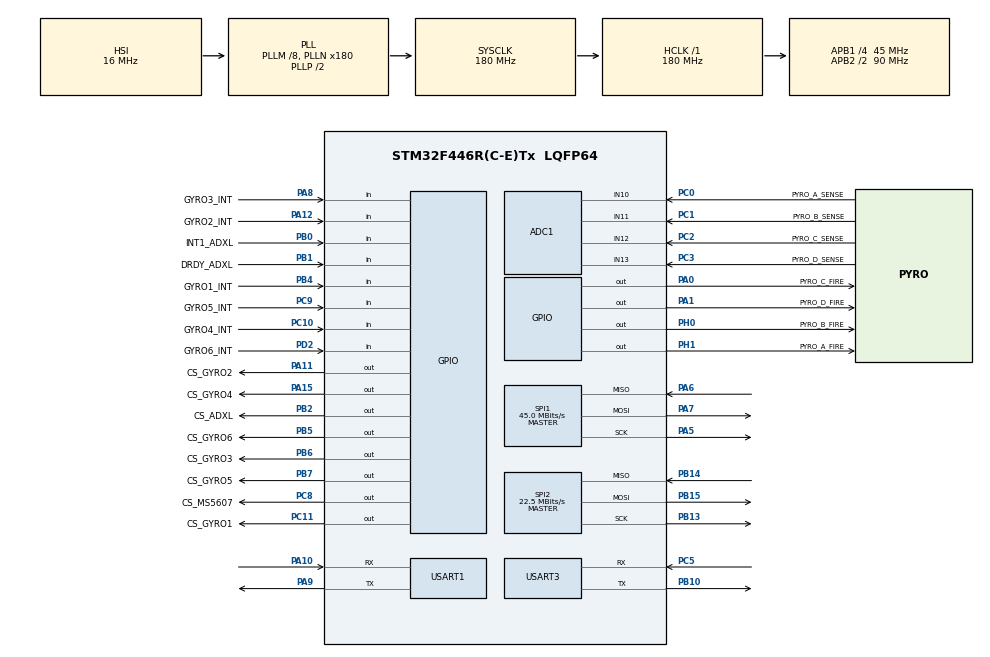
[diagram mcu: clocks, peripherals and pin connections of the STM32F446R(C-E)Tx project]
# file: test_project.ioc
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ADC1.Channel-0\#ChannelRegularConversion=ADC_CHANNEL_10
ADC1.Channel-1\#ChannelRegularConversion=ADC_CHANNEL_11
ADC1.Channel-72\#ChannelRegularConversion=ADC_CHANNEL_12
ADC1.Channel-IN10=ADC_CHANNEL_10
ADC1.Channel-IN11=ADC_CHANNEL_11
ADC1.Channel-IN12=ADC_CHANNEL_12
ADC1.NbrOfConversion=3
ADC1.NbrOfConversionFlag=1
ADC1.Rank-1\#ChannelRegularConversion=2
ADC1.master=1
Mcu.Family=STM32F4
Mcu.Name=STM32F446R(C-E)Tx
Mcu.Package=LQFP64
NVIC.PriorityGroup=NVIC_PRIORITYGROUP_0
PA0-WKUP.GPIO_Label=PYRO_C_FIRE
PA0-WKUP.Signal=GPIO_Output
PA1.GPIO_Label=PYRO_D_FIRE
PA1.Signal=GPIO_Output
PA10.Mode=Asynchronous
PA10.Signal=USART1_RX
PA11.GPIO_Label=CS_GYRO2
PA11.Signal=GPIO_Output
PA12.GPIO_Label=GYRO2_INT
PA12.Signal=GPIO_Input
PA13.GPIO_Label=TMS
PA13.Signal=SYS_JTMS-SWDIO
PA14.GPIO_Label=TCK
PA14.Signal=SYS_JTCK-SWCLK
PA15.GPIO_Label=CS_GYRO4
PA15.Signal=GPIO_Output
PA5.Mode=Full_Duplex_Master
PA5.Signal=SPI1_SCK
PA6.Mode=Full_Duplex_Master
PA6.Signal=SPI1_MISO
PA7.Mode=Full_Duplex_Master
PA7.Signal=SPI1_MOSI
PA8.GPIO_Label=GYRO3_INT
PA8.Signal=GPIO_Input
PA9.Mode=Asynchronous
PA9.Signal=USART1_TX
PB0.GPIO_Label=INT1_ADXL
PB0.Signal=GPIO_Input
PB1.GPIO_Label=DRDY_ADXL
PB1.Signal=GPIO_Input
PB10.Mode=Asynchronous
PB10.Signal=USART3_TX
PB13.Mode=Full_Duplex_Master
PB13.Signal=SPI2_SCK
PB14.Mode=Full_Duplex_Master
PB14.Signal=SPI2_MISO
PB15.Mode=Full_Duplex_Master
PB15.Signal=SPI2_MOSI
PB2.GPIO_Label=CS_ADXL
PB2.Signal=GPIO_Output
PB3.GPIO_Label=SWO
PB3.Signal=SYS_JTDO-SWO
PB4.GPIO_Label=GYRO1_INT
PB4.Signal=GPIO_Input
PB5.GPIO_Label=CS_GYRO6
PB5.Signal=GPIO_Output
PB6.GPIO_Label=CS_GYRO3
PB6.Signal=GPIO_Output
PB7.GPIO_Label=CS_GYRO5
PB7.Signal=GPIO_Output
PC0.GPIO_Label=PYRO_A_SENSE
PC0.Signal=ADCx_IN10
PC1.GPIO_Label=PYRO_B_SENSE
PC1.Signal=ADCx_IN11
PC10.GPIO_Label=GYRO4_INT
PC10.Signal=GPIO_Input
PC11.GPIO_Label=CS_GYRO1
PC11.Signal=GPIO_Output
PC2.GPIO_Label=PYRO_C_SENSE
PC2.Signal=ADCx_IN12
PC3.GPIO_Label=PYRO_D_SENSE
PC3.Signal=ADCx_IN13
PC5.Mode=Asynchronous
PC5.Signal=USART3_RX
PC8.GPIO_Label=CS_MS5607
PC8.Signal=GPIO_Output
PC9.GPIO_Label=GYRO5_INT
PC9.Signal=GPIO_Input
PD2.GPIO_Label=GYRO6_INT
PD2.Signal=GPIO_Input
PH0-OSC_IN.GPIO_Label=PYRO_B_FIRE
PH0-OSC_IN.Signal=GPIO_Output
PH1-OSC_OUT.GPIO_Label=PYRO_A_FIRE
PH1-OSC_OUT.Signal=GPIO_Output
ProjectManager.HeapSize=0x200
ProjectManager.StackSize=0x400
ProjectManager.TargetToolchain=Other Toolchains (GPDSC)
RCC.AHBFreq_Value=180000000
RCC.APB1CLKDivider=RCC_HCLK_DIV4
RCC.APB1Freq_Value=45000000
RCC.APB1TimFreq_Value=90000000
RCC.APB2CLKDivider=RCC_HCLK_DIV2
RCC.APB2Freq_Value=90000000
RCC.APB2TimFreq_Value=180000000
RCC.CortexFreq_Value=180000000
RCC.FLatency=FLASH_LATENCY_5
RCC.HCLKFreq_Value=180000000
RCC.PLLM=8
RCC.PLLN=180
RCC.PWREXT_OverDrive=PWREXT_OverDrive_ACTIVATED
RCC.PWR_Regulator_Voltage_Scale=PWR_REGULATOR_VOLTAGE_SCALE1
RCC.SYSCLKFreq_VALUE=180000000
RCC.SYSCLKSource=RCC_SYSCLKSOURCE_PLLCLK
RCC.USBFreq_Value=180000000
RCC.VCOOutputFreq_Value=360000000
SH.ADCx_IN10.0=ADC1_IN10,IN10
SH.ADCx_IN11.0=ADC1_IN11,IN11
SH.ADCx_IN12.0=ADC1_IN12,IN12
SH.ADCx_IN13.0=ADC1_IN13,IN13
SPI1.CalculateBaudRate=45.0 MBits/s
SPI1.Direction=SPI_DIRECTION_2LINES
SPI1.Mode=SPI_MODE_MASTER
SPI1.VirtualType=VM_MASTER
SPI2.CalculateBaudRate=22.5 MBits/s
SPI2.Direction=SPI_DIRECTION_2LINES
SPI2.Mode=SPI_MODE_MASTER
SPI2.VirtualType=VM_MASTER
USART1.VirtualMode=VM_ASYNC
USART3.VirtualMode=VM_ASYNC
VP_TIM6_VS_ClockSourceINT.Mode=Enable_Timer
VP_TIM7_VS_ClockSourceINT.Mode=Enable_Timer
board=test_project

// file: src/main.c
/**
  ******************************************************************************
  * File Name          : main.c
  * Description        : Main program body
  ******************************************************************************
  ** This notice applies to any and all portions of this file
  * that are not between comment pairs USER CODE BEGIN and
  * USER CODE END. Other portions of this file, whether
  * inserted by the user or by software development tools
  * are owned by their respective copyright owners.
  *
  * COPYRIGHT(c) 2017 STMicroelectronics
  *
  * Redistribution and use in source and binary forms, with or without modification,
  * are permitted provided that the following conditions are met:
  *   1. Redistributions of source code must retain the above copyright notice,
  *      this list of conditions and the following disclaimer.
  *   2. Redistributions in binary form must reproduce the above copyright notice,
  *      this list of conditions and the following disclaimer in the documentation
  *      and/or other materials provided with the distribution.
  *   3. Neither the name of STMicroelectronics nor the names of its contributors
  *      may be used to endorse or promote products derived from this software
  *      without specific prior written permission.
  *
  * THIS SOFTWARE IS PROVIDED BY THE COPYRIGHT HOLDERS AND CONTRIBUTORS "AS IS"
  * AND ANY EXPRESS OR IMPLIED WARRANTIES, INCLUDING, BUT NOT LIMITED TO, THE
  * IMPLIED WARRANTIES OF MERCHANTABILITY AND FITNESS FOR A PARTICULAR PURPOSE ARE
  * DISCLAIMED. IN NO EVENT SHALL THE COPYRIGHT HOLDER OR CONTRIBUTORS BE LIABLE
  * FOR ANY DIRECT, INDIRECT, INCIDENTAL, SPECIAL, EXEMPLARY, OR CONSEQUENTIAL
  * DAMAGES (INCLUDING, BUT NOT LIMITED TO, PROCUREMENT OF SUBSTITUTE GOODS OR
  * SERVICES; LOSS OF USE, DATA, OR PROFITS; OR BUSINESS INTERRUPTION) HOWEVER
  * CAUSED AND ON ANY THEORY OF LIABILITY, WHETHER IN CONTRACT, STRICT LIABILITY,
  * OR TORT (INCLUDING NEGLIGENCE OR OTHERWISE) ARISING IN ANY WAY OUT OF THE USE
  * OF THIS SOFTWARE, EVEN IF ADVISED OF THE POSSIBILITY OF SUCH DAMAGE.
  *
  ******************************************************************************
  */

#include "main.h"
#include "stm32f4xx_hal.h"

/* USER CODE BEGIN Includes */
#include <string.h>
#include "CC1125.h"
#include "MS5607.h"
#include "LSM9DS0.h"
/* USER CODE END Includes */

ADC_HandleTypeDef hadc1;

SPI_HandleTypeDef hspi1;
SPI_HandleTypeDef hspi2;

TIM_HandleTypeDef htim6;
TIM_HandleTypeDef htim7;

UART_HandleTypeDef huart1;
UART_HandleTypeDef huart3;

/* USER CODE BEGIN PV */
/* Private variables ---------------------------------------------------------*/

/* USER CODE END PV */

void SystemClock_Config(void);
static void MX_GPIO_Init(void);
static void MX_ADC1_Init(void);
static void MX_SPI1_Init(void);
static void MX_SPI2_Init(void);
static void MX_TIM6_Init(void);
static void MX_TIM7_Init(void);
static void MX_USART1_UART_Init(void);
static void MX_USART3_UART_Init(void);

/* USER CODE BEGIN PFP */
/* Private function prototypes -----------------------------------------------*/
uint8_t Buz = 1;
char msg[30];
/* USER CODE END PFP */

/* USER CODE BEGIN 0 */
void TIM7_IRQHandler(void){
  HAL_TIM_IRQHandler(&htim7);
}

//void HAL_TIM_PeriodElapsedCallback(TIM_HandleTypeDef *htim){
//  if(htim->Instance == TIM7){
//      if(Buz == 1){
//          HAL_GPIO_TogglePin(GPIOH, GPIO_PIN_0);
//      }
//  }
//}
/* USER CODE END 0 */

int main(void)
{

  /* USER CODE BEGIN 1 */
  volatile uint8_t num_bytes = 0;
  /* USER CODE END 1 */

  /* MCU Configuration----------------------------------------------------------*/

  /* Reset of all peripherals, Initializes the Flash interface and the Systick. */
  HAL_Init();

  /* Configure the system clock */
  SystemClock_Config();

  /* Initialize all configured peripherals */
  MX_GPIO_Init();
  MX_ADC1_Init();
  MX_SPI1_Init();
  MX_SPI2_Init();
  MX_TIM6_Init();
  MX_TIM7_Init();
  MX_USART1_UART_Init();
  MX_USART3_UART_Init();

  /* USER CODE BEGIN 2 */
  _CC1125 Radio;
  Radio.CS_Port = GPIOB;
  Radio.Pin = GPIO_PIN_0;
  Radio.spi = &hspi2;

  _MS5607 Baro;
  Baro.CS_Port = GPIOC;
  Baro.Pin = GPIO_PIN_3;
  Baro.spi = &hspi1;

  _LSM9DS0 IMU;
  IMU.CS_Port = GPIOA;
  IMU.Pin = GPIO_PIN_1;
  IMU.spi = &hspi1;

  int16_t accelData[3] = {0, 0, 0};

  HAL_GPIO_WritePin(GPIOC, GPIO_PIN_3, GPIO_PIN_SET); //Set MS5607 cs high
  HAL_GPIO_WritePin(GPIOA, GPIO_PIN_0, GPIO_PIN_SET); //Set Mag cs high
  HAL_GPIO_WritePin(GPIOA, GPIO_PIN_1, GPIO_PIN_SET); //Set A/G cs high
  HAL_GPIO_WritePin(GPIOA, GPIO_PIN_3, GPIO_PIN_SET); //Set High g cs high
  HAL_GPIO_WritePin(GPIOB, GPIO_PIN_0, GPIO_PIN_SET); //Set cc1125 cs high

  HAL_GPIO_WritePin(GPIOB, GPIO_PIN_2, GPIO_PIN_SET);   //PA on
  HAL_GPIO_WritePin(GPIOB, GPIO_PIN_1, GPIO_PIN_RESET); //LNA off

  __HAL_RCC_TIM7_CLK_ENABLE();
  HAL_NVIC_SetPriority(TIM7_IRQn, 0, 0);
  HAL_NVIC_EnableIRQ(TIM7_IRQn);
  HAL_TIM_Base_Init(&htim7);
  HAL_TIM_Base_Start_IT(&htim7);

  __HAL_RCC_TIM7_CLK_DISABLE();

  uint8_t RST = SRES;
  CC1125_Cmd(&RST, &Radio);
  HAL_Delay(100);
  CC1125_Cmd(&RST, &Radio);
  HAL_Delay(100);
  num_bytes = CC1125_FIFO_NUM_TXBYTES(&Radio);

  LSM9DS0_Config(&IMU);
  CC1125_Cfg(&Radio);

  uint8_t TX = STX;
  /* USER CODE END 2 */

  /* Infinite loop */
  while (1)
  {

  /* USER CODE BEGIN 3 */
    //LSM9DS0_ReadAccelXYZ(accelData);
    num_bytes = CC1125_FIFO_NUM_TXBYTES(&Radio);
    //HAL_Delay(1);
    CC1125_TxFIFO(0x03, &Radio);
    //HAL_Delay(1);
    CC1125_TxFIFO(0x03, &Radio);
    //HAL_Delay(1);
    CC1125_TxFIFO(0x05, &Radio);
    //HAL_Delay(1);
    CC1125_TxFIFO(0x06, &Radio);
    //num_bytes = CC1125_FIFO_NUM_TXBYTES(&Radio);
    //HAL_Delay(50);
    CC1125_Cmd(&TX, &Radio);
    HAL_Delay(50);
    num_bytes = CC1125_FIFO_NUM_TXBYTES(&Radio);
    HAL_Delay(250);

  }
  /* USER CODE END 3 */

}

/** System Clock Configuration
*/
void SystemClock_Config(void)
{

  RCC_OscInitTypeDef RCC_OscInitStruct;
  RCC_ClkInitTypeDef RCC_ClkInitStruct;

    /**Configure the main internal regulator output voltage
    */
  __HAL_RCC_PWR_CLK_ENABLE();

  __HAL_PWR_VOLTAGESCALING_CONFIG(PWR_REGULATOR_VOLTAGE_SCALE1);

    /**Initializes the CPU, AHB and APB busses clocks
    */
  RCC_OscInitStruct.OscillatorType = RCC_OSCILLATORTYPE_HSI;
  RCC_OscInitStruct.HSIState = RCC_HSI_ON;
  RCC_OscInitStruct.HSICalibrationValue = 16;
  RCC_OscInitStruct.PLL.PLLState = RCC_PLL_ON;
  RCC_OscInitStruct.PLL.PLLSource = RCC_PLLSOURCE_HSI;
  RCC_OscInitStruct.PLL.PLLM = 8;
  RCC_OscInitStruct.PLL.PLLN = 180;
  RCC_OscInitStruct.PLL.PLLP = RCC_PLLP_DIV2;
  RCC_OscInitStruct.PLL.PLLQ = 2;
  RCC_OscInitStruct.PLL.PLLR = 2;
  if (HAL_RCC_OscConfig(&RCC_OscInitStruct) != HAL_OK)
  {
    _Error_Handler(__FILE__, __LINE__);
  }

    /**Activate the Over-Drive mode
    */
  if (HAL_PWREx_EnableOverDrive() != HAL_OK)
  {
    _Error_Handler(__FILE__, __LINE__);
  }

    /**Initializes the CPU, AHB and APB busses clocks
    */
  RCC_ClkInitStruct.ClockType = RCC_CLOCKTYPE_HCLK|RCC_CLOCKTYPE_SYSCLK
                              |RCC_CLOCKTYPE_PCLK1|RCC_CLOCKTYPE_PCLK2;
  RCC_ClkInitStruct.SYSCLKSource = RCC_SYSCLKSOURCE_PLLCLK;
  RCC_ClkInitStruct.AHBCLKDivider = RCC_SYSCLK_DIV1;
  RCC_ClkInitStruct.APB1CLKDivider = RCC_HCLK_DIV4;
  RCC_ClkInitStruct.APB2CLKDivider = RCC_HCLK_DIV2;

  if (HAL_RCC_ClockConfig(&RCC_ClkInitStruct, FLASH_LATENCY_5) != HAL_OK)
  {
    _Error_Handler(__FILE__, __LINE__);
  }

    /**Configure the Systick interrupt time
    */
  HAL_SYSTICK_Config(HAL_RCC_GetHCLKFreq()/1000);

    /**Configure the Systick
    */
  HAL_SYSTICK_CLKSourceConfig(SYSTICK_CLKSOURCE_HCLK);

  /* SysTick_IRQn interrupt configuration */
  HAL_NVIC_SetPriority(SysTick_IRQn, 0, 0);
}

/* ADC1 init function */
static void MX_ADC1_Init(void)
{

  ADC_ChannelConfTypeDef sConfig;

    /**Configure the global features of the ADC (Clock, Resolution, Data Alignment and number of conversion)
    */
  hadc1.Instance = ADC1;
  hadc1.Init.ClockPrescaler = ADC_CLOCK_SYNC_PCLK_DIV4;
  hadc1.Init.Resolution = ADC_RESOLUTION_12B;
  hadc1.Init.ScanConvMode = DISABLE;
  hadc1.Init.ContinuousConvMode = DISABLE;
  hadc1.Init.DiscontinuousConvMode = DISABLE;
  hadc1.Init.ExternalTrigConvEdge = ADC_EXTERNALTRIGCONVEDGE_NONE;
  hadc1.Init.ExternalTrigConv = ADC_SOFTWARE_START;
  hadc1.Init.DataAlign = ADC_DATAALIGN_RIGHT;
  hadc1.Init.NbrOfConversion = 3;
  hadc1.Init.DMAContinuousRequests = DISABLE;
  hadc1.Init.EOCSelection = ADC_EOC_SINGLE_CONV;
  if (HAL_ADC_Init(&hadc1) != HAL_OK)
  {
    _Error_Handler(__FILE__, __LINE__);
  }

    /**Configure for the selected ADC regular channel its corresponding rank in the sequencer and its sample time.
    */
  sConfig.Channel = ADC_CHANNEL_12;
  sConfig.Rank = 1;
  sConfig.SamplingTime = ADC_SAMPLETIME_3CYCLES;
  if (HAL_ADC_ConfigChannel(&hadc1, &sConfig) != HAL_OK)
  {
    _Error_Handler(__FILE__, __LINE__);
  }

    /**Configure for the selected ADC regular channel its corresponding rank in the sequencer and its sample time.
    */
  sConfig.Channel = ADC_CHANNEL_10;
  if (HAL_ADC_ConfigChannel(&hadc1, &sConfig) != HAL_OK)
  {
    _Error_Handler(__FILE__, __LINE__);
  }

    /**Configure for the selected ADC regular channel its corresponding rank in the sequencer and its sample time.
    */
  sConfig.Channel = ADC_CHANNEL_11;
  sConfig.Rank = 2;
  if (HAL_ADC_ConfigChannel(&hadc1, &sConfig) != HAL_OK)
  {
    _Error_Handler(__FILE__, __LINE__);
  }

}

/* SPI1 init function */
static void MX_SPI1_Init(void)
{

  /* SPI1 parameter configuration*/
  hspi1.Instance = SPI1;
  hspi1.Init.Mode = SPI_MODE_MASTER;
  hspi1.Init.Direction = SPI_DIRECTION_2LINES;
  hspi1.Init.DataSize = SPI_DATASIZE_8BIT;
  hspi1.Init.CLKPolarity = SPI_POLARITY_LOW;
  hspi1.Init.CLKPhase = SPI_PHASE_1EDGE;
  hspi1.Init.NSS = SPI_NSS_SOFT;
  hspi1.Init.BaudRatePrescaler = SPI_BAUDRATEPRESCALER_2;
  hspi1.Init.FirstBit = SPI_FIRSTBIT_MSB;
  hspi1.Init.TIMode = SPI_TIMODE_DISABLE;
  hspi1.Init.CRCCalculation = SPI_CRCCALCULATION_DISABLE;
  hspi1.Init.CRCPolynomial = 10;
  if (HAL_SPI_Init(&hspi1) != HAL_OK)
  {
    _Error_Handler(__FILE__, __LINE__);
  }

}

/* SPI2 init function */
static void MX_SPI2_Init(void)
{

  /* SPI2 parameter configuration*/
  hspi2.Instance = SPI2;
  hspi2.Init.Mode = SPI_MODE_MASTER;
  hspi2.Init.Direction = SPI_DIRECTION_2LINES;
  hspi2.Init.DataSize = SPI_DATASIZE_8BIT;
  hspi2.Init.CLKPolarity = SPI_POLARITY_LOW;
  hspi2.Init.CLKPhase = SPI_PHASE_1EDGE;
  hspi2.Init.NSS = SPI_NSS_SOFT;
  hspi2.Init.BaudRatePrescaler = SPI_BAUDRATEPRESCALER_2;
  hspi2.Init.FirstBit = SPI_FIRSTBIT_MSB;
  hspi2.Init.TIMode = SPI_TIMODE_DISABLE;
  hspi2.Init.CRCCalculation = SPI_CRCCALCULATION_DISABLE;
  hspi2.Init.CRCPolynomial = 10;
  if (HAL_SPI_Init(&hspi2) != HAL_OK)
  {
    _Error_Handler(__FILE__, __LINE__);
  }

}

/* TIM6 init function */
static void MX_TIM6_Init(void)
{

  TIM_MasterConfigTypeDef sMasterConfig;

  htim6.Instance = TIM6;
  htim6.Init.Prescaler = 0;
  htim6.Init.CounterMode = TIM_COUNTERMODE_UP;
  htim6.Init.Period = 0;
  if (HAL_TIM_Base_Init(&htim6) != HAL_OK)
  {
    _Error_Handler(__FILE__, __LINE__);
  }

  sMasterConfig.MasterOutputTrigger = TIM_TRGO_RESET;
  sMasterConfig.MasterSlaveMode = TIM_MASTERSLAVEMODE_DISABLE;
  if (HAL_TIMEx_MasterConfigSynchronization(&htim6, &sMasterConfig) != HAL_OK)
  {
    _Error_Handler(__FILE__, __LINE__);
  }

}

/* TIM7 init function */
static void MX_TIM7_Init(void)
{

  TIM_MasterConfigTypeDef sMasterConfig;

  htim7.Instance = TIM7;
  htim7.Init.Prescaler = 0;
  htim7.Init.CounterMode = TIM_COUNTERMODE_UP;
  htim7.Init.Period = 0;
  if (HAL_TIM_Base_Init(&htim7) != HAL_OK)
  {
    _Error_Handler(__FILE__, __LINE__);
  }

  sMasterConfig.MasterOutputTrigger = TIM_TRGO_RESET;
  sMasterConfig.MasterSlaveMode = TIM_MASTERSLAVEMODE_DISABLE;
  if (HAL_TIMEx_MasterConfigSynchronization(&htim7, &sMasterConfig) != HAL_OK)
  {
    _Error_Handler(__FILE__, __LINE__);
  }

}

/* USART1 init function */
static void MX_USART1_UART_Init(void)
{

  huart1.Instance = USART1;
  huart1.Init.BaudRate = 115200;
  huart1.Init.WordLength = UART_WORDLENGTH_8B;
  huart1.Init.StopBits = UART_STOPBITS_1;
  huart1.Init.Parity = UART_PARITY_NONE;
  huart1.Init.Mode = UART_MODE_TX_RX;
  huart1.Init.HwFlowCtl = UART_HWCONTROL_NONE;
  huart1.Init.OverSampling = UART_OVERSAMPLING_16;
  if (HAL_UART_Init(&huart1) != HAL_OK)
  {
    _Error_Handler(__FILE__, __LINE__);
  }

}

/* USART3 init function */
static void MX_USART3_UART_Init(void)
{

  huart3.Instance = USART3;
  huart3.Init.BaudRate = 115200;
  huart3.Init.WordLength = UART_WORDLENGTH_8B;
  huart3.Init.StopBits = UART_STOPBITS_1;
  huart3.Init.Parity = UART_PARITY_NONE;
  huart3.Init.Mode = UART_MODE_TX_RX;
  huart3.Init.HwFlowCtl = UART_HWCONTROL_NONE;
  huart3.Init.OverSampling = UART_OVERSAMPLING_16;
  if (HAL_UART_Init(&huart3) != HAL_OK)
  {
    _Error_Handler(__FILE__, __LINE__);
  }

}

/** Configure pins as
        * Analog
        * Input
        * Output
        * EVENT_OUT
        * EXTI
*/
static void MX_GPIO_Init(void)
{

  GPIO_InitTypeDef GPIO_InitStruct;

  /* GPIO Ports Clock Enable */
  __HAL_RCC_GPIOH_CLK_ENABLE();
  __HAL_RCC_GPIOC_CLK_ENABLE();
  __HAL_RCC_GPIOA_CLK_ENABLE();
  __HAL_RCC_GPIOB_CLK_ENABLE();
  __HAL_RCC_GPIOD_CLK_ENABLE();

  /*Configure GPIO pin Output Level */
  HAL_GPIO_WritePin(GPIOH, PYRO_B_FIRE_Pin|PYRO_A_FIRE_Pin, GPIO_PIN_RESET);

  /*Configure GPIO pin Output Level */
  HAL_GPIO_WritePin(GPIOA, PYRO_C_FIRE_Pin|PYRO_D_FIRE_Pin|CS_GYRO2_Pin|CS_GYRO4_Pin, GPIO_PIN_RESET);

  /*Configure GPIO pin Output Level */
  HAL_GPIO_WritePin(GPIOB, CS_ADXL_Pin|CS_GYRO6_Pin|CS_GYRO3_Pin|CS_GYRO5_Pin, GPIO_PIN_RESET);

  /*Configure GPIO pin Output Level */
  HAL_GPIO_WritePin(GPIOC, CS_MS5607_Pin|CS_GYRO1_Pin, GPIO_PIN_RESET);

  /*Configure GPIO pins : PYRO_B_FIRE_Pin PYRO_A_FIRE_Pin */
  GPIO_InitStruct.Pin = PYRO_B_FIRE_Pin|PYRO_A_FIRE_Pin;
  GPIO_InitStruct.Mode = GPIO_MODE_OUTPUT_PP;
  GPIO_InitStruct.Pull = GPIO_NOPULL;
  GPIO_InitStruct.Speed = GPIO_SPEED_FREQ_LOW;
  HAL_GPIO_Init(GPIOH, &GPIO_InitStruct);

  /*Configure GPIO pins : PYRO_C_FIRE_Pin PYRO_D_FIRE_Pin CS_GYRO2_Pin CS_GYRO4_Pin */
  GPIO_InitStruct.Pin = PYRO_C_FIRE_Pin|PYRO_D_FIRE_Pin|CS_GYRO2_Pin|CS_GYRO4_Pin;
  GPIO_InitStruct.Mode = GPIO_MODE_OUTPUT_PP;
  GPIO_InitStruct.Pull = GPIO_NOPULL;
  GPIO_InitStruct.Speed = GPIO_SPEED_FREQ_LOW;
  HAL_GPIO_Init(GPIOA, &GPIO_InitStruct);

  /*Configure GPIO pins : INT1_ADXL_Pin DRDY_ADXL_Pin GYRO1_INT_Pin */
  GPIO_InitStruct.Pin = INT1_ADXL_Pin|DRDY_ADXL_Pin|GYRO1_INT_Pin;
  GPIO_InitStruct.Mode = GPIO_MODE_INPUT;
  GPIO_InitStruct.Pull = GPIO_NOPULL;
  HAL_GPIO_Init(GPIOB, &GPIO_InitStruct);

  /*Configure GPIO pins : CS_ADXL_Pin CS_GYRO6_Pin CS_GYRO3_Pin CS_GYRO5_Pin */
  GPIO_InitStruct.Pin = CS_ADXL_Pin|CS_GYRO6_Pin|CS_GYRO3_Pin|CS_GYRO5_Pin;
  GPIO_InitStruct.Mode = GPIO_MODE_OUTPUT_PP;
  GPIO_InitStruct.Pull = GPIO_NOPULL;
  GPIO_InitStruct.Speed = GPIO_SPEED_FREQ_LOW;
  HAL_GPIO_Init(GPIOB, &GPIO_InitStruct);

  /*Configure GPIO pins : CS_MS5607_Pin CS_GYRO1_Pin */
  GPIO_InitStruct.Pin = CS_MS5607_Pin|CS_GYRO1_Pin;
  GPIO_InitStruct.Mode = GPIO_MODE_OUTPUT_PP;
  GPIO_InitStruct.Pull = GPIO_NOPULL;
  GPIO_InitStruct.Speed = GPIO_SPEED_FREQ_LOW;
  HAL_GPIO_Init(GPIOC, &GPIO_InitStruct);

  /*Configure GPIO pins : GYRO5_INT_Pin GYRO4_INT_Pin */
  GPIO_InitStruct.Pin = GYRO5_INT_Pin|GYRO4_INT_Pin;
  GPIO_InitStruct.Mode = GPIO_MODE_INPUT;
  GPIO_InitStruct.Pull = GPIO_NOPULL;
  HAL_GPIO_Init(GPIOC, &GPIO_InitStruct);

  /*Configure GPIO pins : GYRO3_INT_Pin GYRO2_INT_Pin */
  GPIO_InitStruct.Pin = GYRO3_INT_Pin|GYRO2_INT_Pin;
  GPIO_InitStruct.Mode = GPIO_MODE_INPUT;
  GPIO_InitStruct.Pull = GPIO_NOPULL;
  HAL_GPIO_Init(GPIOA, &GPIO_InitStruct);

  /*Configure GPIO pin : GYRO6_INT_Pin */
  GPIO_InitStruct.Pin = GYRO6_INT_Pin;
  GPIO_InitStruct.Mode = GPIO_MODE_INPUT;
  GPIO_InitStruct.Pull = GPIO_NOPULL;
  HAL_GPIO_Init(GYRO6_INT_GPIO_Port, &GPIO_InitStruct);

}

void _Error_Handler(char * file, int line)
{
  while(1)
  {
  }
}

/************************ (C) COPYRIGHT STMicroelectronics *****END OF FILE****/
